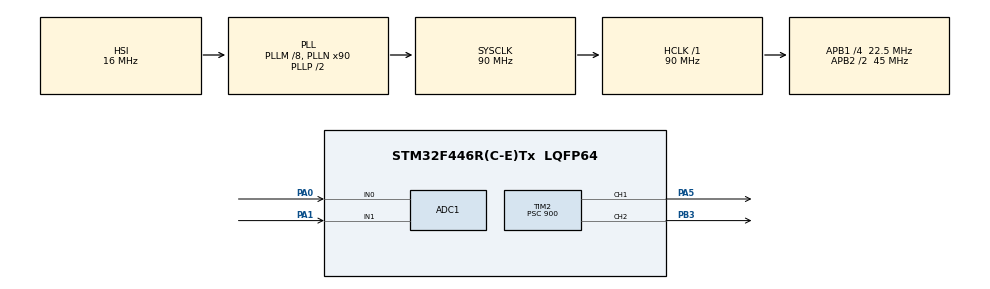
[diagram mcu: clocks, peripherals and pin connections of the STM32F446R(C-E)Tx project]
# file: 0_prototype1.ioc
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ADC1.Channel-0\#ChannelRegularConversion=ADC_CHANNEL_1
ADC1.Channel-1\#ChannelRegularConversion=ADC_CHANNEL_0
ADC1.ContinuousConvMode=ENABLE
ADC1.DMAContinuousRequests=ENABLE
ADC1.NbrOfConversion=2
ADC1.NbrOfConversionFlag=1
ADC1.Rank-0\#ChannelRegularConversion=1
ADC1.Rank-1\#ChannelRegularConversion=2
ADC1.SamplingTime-0\#ChannelRegularConversion=ADC_SAMPLETIME_480CYCLES
ADC1.SamplingTime-1\#ChannelRegularConversion=ADC_SAMPLETIME_480CYCLES
ADC1.ScanConvMode=ENABLE
ADC1.master=1
Dma.ADC1.1.Direction=DMA_PERIPH_TO_MEMORY
Dma.ADC1.1.FIFOMode=DMA_FIFOMODE_DISABLE
Dma.ADC1.1.Instance=DMA2_Stream0
Dma.ADC1.1.MemDataAlignment=DMA_MDATAALIGN_WORD
Dma.ADC1.1.MemInc=DMA_MINC_ENABLE
Dma.ADC1.1.Mode=DMA_CIRCULAR
Dma.ADC1.1.PeriphDataAlignment=DMA_PDATAALIGN_WORD
Dma.ADC1.1.PeriphInc=DMA_PINC_DISABLE
Dma.ADC1.1.Priority=DMA_PRIORITY_LOW
Dma.Request0=TIM2_CH1
Dma.Request1=ADC1
Dma.TIM2_CH1.0.Direction=DMA_MEMORY_TO_PERIPH
Dma.TIM2_CH1.0.FIFOMode=DMA_FIFOMODE_DISABLE
Dma.TIM2_CH1.0.Instance=DMA1_Stream5
Dma.TIM2_CH1.0.MemDataAlignment=DMA_MDATAALIGN_WORD
Dma.TIM2_CH1.0.MemInc=DMA_MINC_ENABLE
Dma.TIM2_CH1.0.Mode=DMA_NORMAL
Dma.TIM2_CH1.0.PeriphDataAlignment=DMA_PDATAALIGN_WORD
Dma.TIM2_CH1.0.PeriphInc=DMA_PINC_DISABLE
Dma.TIM2_CH1.0.Priority=DMA_PRIORITY_LOW
Mcu.Family=STM32F4
Mcu.Name=STM32F446R(C-E)Tx
Mcu.Package=LQFP64
NVIC.ADC_IRQn=true\:0\:0\:false\:false\:true\:true\:true\:true
NVIC.DMA1_Stream5_IRQn=true\:0\:0\:false\:false\:true\:false\:true\:true
NVIC.DMA2_Stream0_IRQn=true\:0\:0\:false\:false\:true\:false\:true\:true
NVIC.PriorityGroup=NVIC_PRIORITYGROUP_0
NVIC.TIM2_IRQn=true\:0\:0\:false\:false\:true\:true\:true\:true
PA0-WKUP.Signal=ADCx_IN0
PA1.Signal=ADCx_IN1
PA13.Mode=Serial_Wire
PA13.Signal=SYS_JTMS-SWDIO
PA14.Mode=Serial_Wire
PA14.Signal=SYS_JTCK-SWCLK
PA5.Signal=S_TIM2_CH1_ETR
PB3.Signal=S_TIM2_CH2
PC14-OSC32_IN.Mode=LSE-External-Oscillator
PC14-OSC32_IN.Signal=RCC_OSC32_IN
PC15-OSC32_OUT.Mode=LSE-External-Oscillator
PC15-OSC32_OUT.Signal=RCC_OSC32_OUT
PH0-OSC_IN.Mode=HSE-External-Clock-Source
PH0-OSC_IN.Signal=RCC_OSC_IN
PH1-OSC_OUT.Mode=HSE-External-Clock-Source
PH1-OSC_OUT.Signal=RCC_OSC_OUT
ProjectManager.HeapSize=0x200
ProjectManager.StackSize=0x400
ProjectManager.TargetToolchain=STM32CubeIDE
RCC.48MHZClocksFreq_Value=84000000
RCC.AHBFreq_Value=90000000
RCC.APB1CLKDivider=RCC_HCLK_DIV4
RCC.APB1Freq_Value=22500000
RCC.APB1TimFreq_Value=45000000
RCC.APB2CLKDivider=RCC_HCLK_DIV2
RCC.APB2Freq_Value=45000000
RCC.APB2TimFreq_Value=90000000
RCC.CortexFreq_Value=90000000
RCC.FLatency-AdvancedSettings=FLASH_LATENCY_2
RCC.HCLKFreq_Value=90000000
RCC.HSE_VALUE=8000000
RCC.HSI_VALUE=16000000
RCC.PLLM=8
RCC.PLLN=90
RCC.SYSCLKFreq_VALUE=90000000
RCC.SYSCLKSource=RCC_SYSCLKSOURCE_PLLCLK
RCC.USBFreq_Value=90000000
RCC.VCOOutputFreq_Value=180000000
SH.ADCx_IN0.0=ADC1_IN0,IN0
SH.ADCx_IN1.0=ADC1_IN1,IN1
SH.S_TIM2_CH1_ETR.0=TIM2_CH1,PWM Generation1 CH1
SH.S_TIM2_CH2.0=TIM2_CH2,PWM Generation2 CH2
TIM2.Channel-PWM\ Generation1\ CH1=TIM_CHANNEL_1
TIM2.Channel-PWM\ Generation2\ CH2=TIM_CHANNEL_2
TIM2.Period=1000
TIM2.Prescaler=900
TIM2.Pulse-PWM\ Generation1\ CH1=0
TIM2.Pulse-PWM\ Generation2\ CH2=0
VP_TIM2_VS_ClockSourceINT.Mode=Internal
board=NUCLEO-F446RE

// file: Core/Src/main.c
/* USER CODE BEGIN Header */
/**
  ******************************************************************************
  * @file           : main.c
  * @brief          : Main program body
  ******************************************************************************
  * @attention
  *
  * Copyright (c) 2023 STMicroelectronics.
  * All rights reserved.
  *
  * This software is licensed under terms that can be found in the LICENSE file
  * in the root directory of this software component.
  * If no LICENSE file comes with this software, it is provided AS-IS.
  *
  ******************************************************************************
  */
/* USER CODE END Header */
#include "main.h"

ADC_HandleTypeDef hadc1;
DMA_HandleTypeDef hdma_adc1;

TIM_HandleTypeDef htim2;
DMA_HandleTypeDef hdma_tim2_ch1;

void SystemClock_Config(void);
static void MX_GPIO_Init(void);
static void MX_DMA_Init(void);
static void MX_ADC1_Init(void);
static void MX_TIM2_Init(void);

/* USER CODE BEGIN 0 */
uint32_t sensorValue[2];
uint32_t Servo_PWM;
uint32_t BLDC_PWM;

long map(long x, long in_min, long in_max, long out_min, long out_max){
	return (x - in_min)*(out_max - out_min + 1)/(in_max - in_min + 1) + out_min;
}

void set_servo(void);
void set_speed(void);
/* USER CODE END 0 */

int main(void)
{

  /* MCU Configuration--------------------------------------------------------*/

  /* Reset of all peripherals, Initializes the Flash interface and the Systick. */
  HAL_Init();

  /* Configure the system clock */
  SystemClock_Config();

  /* Initialize all configured peripherals */
  MX_GPIO_Init();
  MX_DMA_Init();
  MX_ADC1_Init();
  MX_TIM2_Init();
  /* USER CODE BEGIN 2 */
  HAL_ADC_Start_IT(&hadc1);
  HAL_TIM_PWM_Start(&htim2, TIM_CHANNEL_1);
  HAL_TIM_PWM_Start(&htim2, TIM_CHANNEL_2);

  HAL_ADC_Start_DMA(&hadc1, sensorValue, 2);

  /* USER CODE END 2 */

  /* Infinite loop */
  while (1)
  {

  }
}

void SystemClock_Config(void)
{
  RCC_OscInitTypeDef RCC_OscInitStruct = {0};
  RCC_ClkInitTypeDef RCC_ClkInitStruct = {0};

  /** Configure the main internal regulator output voltage
  */
  __HAL_RCC_PWR_CLK_ENABLE();
  __HAL_PWR_VOLTAGESCALING_CONFIG(PWR_REGULATOR_VOLTAGE_SCALE3);

  /** Initializes the RCC Oscillators according to the specified parameters
  * in the RCC_OscInitTypeDef structure.
  */
  RCC_OscInitStruct.OscillatorType = RCC_OSCILLATORTYPE_HSI;
  RCC_OscInitStruct.HSIState = RCC_HSI_ON;
  RCC_OscInitStruct.HSICalibrationValue = RCC_HSICALIBRATION_DEFAULT;
  RCC_OscInitStruct.PLL.PLLState = RCC_PLL_ON;
  RCC_OscInitStruct.PLL.PLLSource = RCC_PLLSOURCE_HSI;
  RCC_OscInitStruct.PLL.PLLM = 8;
  RCC_OscInitStruct.PLL.PLLN = 90;
  RCC_OscInitStruct.PLL.PLLP = RCC_PLLP_DIV2;
  RCC_OscInitStruct.PLL.PLLQ = 2;
  RCC_OscInitStruct.PLL.PLLR = 2;
  if (HAL_RCC_OscConfig(&RCC_OscInitStruct) != HAL_OK)
  {
    Error_Handler();
  }

  /** Initializes the CPU, AHB and APB buses clocks
  */
  RCC_ClkInitStruct.ClockType = RCC_CLOCKTYPE_HCLK|RCC_CLOCKTYPE_SYSCLK
                              |RCC_CLOCKTYPE_PCLK1|RCC_CLOCKTYPE_PCLK2;
  RCC_ClkInitStruct.SYSCLKSource = RCC_SYSCLKSOURCE_PLLCLK;
  RCC_ClkInitStruct.AHBCLKDivider = RCC_SYSCLK_DIV1;
  RCC_ClkInitStruct.APB1CLKDivider = RCC_HCLK_DIV4;
  RCC_ClkInitStruct.APB2CLKDivider = RCC_HCLK_DIV2;

  if (HAL_RCC_ClockConfig(&RCC_ClkInitStruct, FLASH_LATENCY_2) != HAL_OK)
  {
    Error_Handler();
  }
}

static void MX_ADC1_Init(void)
{

  ADC_ChannelConfTypeDef sConfig = {0};

  /** Configure the global features of the ADC (Clock, Resolution, Data Alignment and number of conversion)
  */
  hadc1.Instance = ADC1;
  hadc1.Init.ClockPrescaler = ADC_CLOCK_SYNC_PCLK_DIV2;
  hadc1.Init.Resolution = ADC_RESOLUTION_12B;
  hadc1.Init.ScanConvMode = ENABLE;
  hadc1.Init.ContinuousConvMode = ENABLE;
  hadc1.Init.DiscontinuousConvMode = DISABLE;
  hadc1.Init.ExternalTrigConvEdge = ADC_EXTERNALTRIGCONVEDGE_NONE;
  hadc1.Init.ExternalTrigConv = ADC_SOFTWARE_START;
  hadc1.Init.DataAlign = ADC_DATAALIGN_RIGHT;
  hadc1.Init.NbrOfConversion = 2;
  hadc1.Init.DMAContinuousRequests = ENABLE;
  hadc1.Init.EOCSelection = ADC_EOC_SINGLE_CONV;
  if (HAL_ADC_Init(&hadc1) != HAL_OK)
  {
    Error_Handler();
  }

  /** Configure for the selected ADC regular channel its corresponding rank in the sequencer and its sample time.
  */
  sConfig.Channel = ADC_CHANNEL_1;
  sConfig.Rank = 1;
  sConfig.SamplingTime = ADC_SAMPLETIME_480CYCLES;
  if (HAL_ADC_ConfigChannel(&hadc1, &sConfig) != HAL_OK)
  {
    Error_Handler();
  }

  /** Configure for the selected ADC regular channel its corresponding rank in the sequencer and its sample time.
  */
  sConfig.Channel = ADC_CHANNEL_0;
  sConfig.Rank = 2;
  if (HAL_ADC_ConfigChannel(&hadc1, &sConfig) != HAL_OK)
  {
    Error_Handler();
  }

}

static void MX_TIM2_Init(void)
{

  TIM_ClockConfigTypeDef sClockSourceConfig = {0};
  TIM_MasterConfigTypeDef sMasterConfig = {0};
  TIM_OC_InitTypeDef sConfigOC = {0};

  htim2.Instance = TIM2;
  htim2.Init.Prescaler = 900;
  htim2.Init.CounterMode = TIM_COUNTERMODE_UP;
  htim2.Init.Period = 1000;
  htim2.Init.ClockDivision = TIM_CLOCKDIVISION_DIV1;
  htim2.Init.AutoReloadPreload = TIM_AUTORELOAD_PRELOAD_DISABLE;
  if (HAL_TIM_Base_Init(&htim2) != HAL_OK)
  {
    Error_Handler();
  }
  sClockSourceConfig.ClockSource = TIM_CLOCKSOURCE_INTERNAL;
  if (HAL_TIM_ConfigClockSource(&htim2, &sClockSourceConfig) != HAL_OK)
  {
    Error_Handler();
  }
  if (HAL_TIM_PWM_Init(&htim2) != HAL_OK)
  {
    Error_Handler();
  }
  sMasterConfig.MasterOutputTrigger = TIM_TRGO_RESET;
  sMasterConfig.MasterSlaveMode = TIM_MASTERSLAVEMODE_DISABLE;
  if (HAL_TIMEx_MasterConfigSynchronization(&htim2, &sMasterConfig) != HAL_OK)
  {
    Error_Handler();
  }
  sConfigOC.OCMode = TIM_OCMODE_PWM1;
  sConfigOC.Pulse = 0;
  sConfigOC.OCPolarity = TIM_OCPOLARITY_HIGH;
  sConfigOC.OCFastMode = TIM_OCFAST_DISABLE;
  if (HAL_TIM_PWM_ConfigChannel(&htim2, &sConfigOC, TIM_CHANNEL_1) != HAL_OK)
  {
    Error_Handler();
  }
  if (HAL_TIM_PWM_ConfigChannel(&htim2, &sConfigOC, TIM_CHANNEL_2) != HAL_OK)
  {
    Error_Handler();
  }
  HAL_TIM_MspPostInit(&htim2);

}

static void MX_DMA_Init(void)
{

  /* DMA controller clock enable */
  __HAL_RCC_DMA1_CLK_ENABLE();
  __HAL_RCC_DMA2_CLK_ENABLE();

  /* DMA interrupt init */
  /* DMA1_Stream5_IRQn interrupt configuration */
  HAL_NVIC_SetPriority(DMA1_Stream5_IRQn, 0, 0);
  HAL_NVIC_EnableIRQ(DMA1_Stream5_IRQn);
  /* DMA2_Stream0_IRQn interrupt configuration */
  HAL_NVIC_SetPriority(DMA2_Stream0_IRQn, 0, 0);
  HAL_NVIC_EnableIRQ(DMA2_Stream0_IRQn);

}

static void MX_GPIO_Init(void)
{

  /* GPIO Ports Clock Enable */
  __HAL_RCC_GPIOC_CLK_ENABLE();
  __HAL_RCC_GPIOH_CLK_ENABLE();
  __HAL_RCC_GPIOA_CLK_ENABLE();
  __HAL_RCC_GPIOB_CLK_ENABLE();

}

/* USER CODE BEGIN 4 */
void set_servo(void){
	Servo_PWM = map(sensorValue[1], 0, 4095, 0, 140);
	__HAL_TIM_SET_COMPARE(&htim2, TIM_CHANNEL_1, Servo_PWM);
}

void set_speed(void){
	BLDC_PWM = map(sensorValue[0], 0, 4095, 50, 100);
	__HAL_TIM_SET_COMPARE(&htim2, TIM_CHANNEL_2, BLDC_PWM);
}

void HAL_ADC_ConvCpltCallback(ADC_HandleTypeDef* hadc){
	set_servo();
	set_speed();
}
/* USER CODE END 4 */

void Error_Handler(void)
{
  __disable_irq();
  while (1)
  {
  }
}
